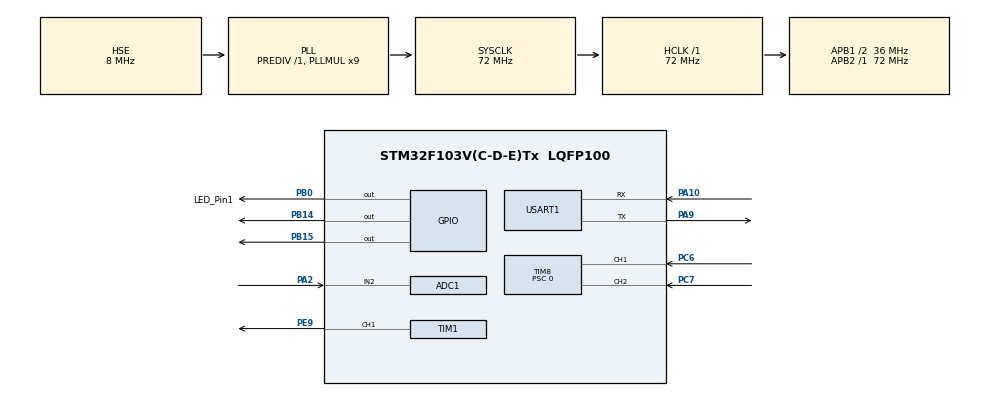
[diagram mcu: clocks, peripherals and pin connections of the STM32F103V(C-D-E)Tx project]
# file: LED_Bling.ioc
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ADC1.Channel-2\#ChannelRegularConversion=ADC_CHANNEL_2
ADC1.ContinuousConvMode=ENABLE
ADC1.NbrOfConversion=1
ADC1.NbrOfConversionFlag=1
ADC1.Rank-2\#ChannelRegularConversion=1
ADC1.SamplingTime-2\#ChannelRegularConversion=ADC_SAMPLETIME_1CYCLE_5
ADC1.master=1
Mcu.Family=STM32F1
Mcu.Name=STM32F103V(C-D-E)Tx
Mcu.Package=LQFP100
NVIC.PriorityGroup=NVIC_PRIORITYGROUP_4
NVIC.TIM2_IRQn=true\:0\:0\:false\:false\:true\:true\:true
NVIC.USART1_IRQn=true\:0\:0\:false\:false\:true\:true\:true
OSC_IN.Mode=HSE-External-Oscillator
OSC_IN.Signal=RCC_OSC_IN
OSC_OUT.Mode=HSE-External-Oscillator
OSC_OUT.Signal=RCC_OSC_OUT
PA10.Mode=Asynchronous
PA10.Signal=USART1_RX
PA2.Signal=ADCx_IN2
PA9.Mode=Asynchronous
PA9.Signal=USART1_TX
PB0.GPIO_Label=LED_Pin1
PB0.GPIO_Speed=GPIO_SPEED_FREQ_HIGH
PB0.Signal=GPIO_Output
PB14.GPIO_Speed=GPIO_SPEED_FREQ_HIGH
PB14.Signal=GPIO_Output
PB15.GPIO_Speed=GPIO_SPEED_FREQ_HIGH
PB15.Signal=GPIO_Output
PC6.GPIO_PuPd=GPIO_PULLUP
PC6.Signal=S_TIM8_CH1
PC7.GPIO_PuPd=GPIO_PULLUP
PC7.Signal=S_TIM8_CH2
PE9.Signal=S_TIM1_CH1
ProjectManager.HeapSize=0x200
ProjectManager.StackSize=0x400
ProjectManager.TargetToolchain=EWARM V8.32
RCC.ADCPresc=RCC_ADCPCLK2_DIV8
RCC.AHBFreq_Value=72000000
RCC.APB1CLKDivider=RCC_HCLK_DIV2
RCC.APB1Freq_Value=36000000
RCC.APB1TimFreq_Value=72000000
RCC.APB2Freq_Value=72000000
RCC.APB2TimFreq_Value=72000000
RCC.HCLKFreq_Value=72000000
RCC.PLLMUL=RCC_PLL_MUL9
RCC.PLLSourceVirtual=RCC_PLLSOURCE_HSE
RCC.SYSCLKFreq_VALUE=72000000
RCC.SYSCLKSource=RCC_SYSCLKSOURCE_PLLCLK
RCC.USBFreq_Value=72000000
SH.ADCx_IN2.0=ADC1_IN2,IN2
SH.S_TIM1_CH1.0=TIM1_CH1,PWM Generation1 CH1
SH.S_TIM8_CH1.0=TIM8_CH1,Encoder_Interface
SH.S_TIM8_CH2.0=TIM8_CH2,Encoder_Interface
TIM1.AutoReloadPreload=TIM_AUTORELOAD_PRELOAD_ENABLE
TIM1.Channel-PWM\ Generation1\ CH1=TIM_CHANNEL_1
TIM1.OCMode_PWM-PWM\ Generation1\ CH1=TIM_OCMODE_PWM1
TIM1.Period=1000-1
TIM1.Prescaler=72-1
TIM1.Pulse-PWM\ Generation1\ CH1=500-1
TIM2.AutoReloadPreload=TIM_AUTORELOAD_PRELOAD_ENABLE
TIM2.Period=1000-1
TIM2.Prescaler=72-1
TIM8.AutoReloadPreload=TIM_AUTORELOAD_PRELOAD_DISABLE
TIM8.EncoderMode=TIM_ENCODERMODE_TI12
TIM8.Period=60000
TIM8.Prescaler=0
USART1.VirtualMode=VM_ASYNC
VP_SYS_VS_ND.Mode=No_Debug
VP_TIM1_VS_ClockSourceINT.Mode=Internal
VP_TIM2_VS_ClockSourceINT.Mode=Internal
board=custom

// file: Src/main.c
/* USER CODE BEGIN Header */
/**
  ******************************************************************************
  * @file           : main.c
  * @brief          : Main program body
  ******************************************************************************
  * @attention
  *
  * <h2><center>&copy; Copyright (c) 2019 STMicroelectronics.
  * All rights reserved.</center></h2>
  *
  * This software component is licensed by ST under BSD 3-Clause license,
  * the "License"; You may not use this file except in compliance with the
  * License. You may obtain a copy of the License at:
  *                        opensource.org/licenses/BSD-3-Clause
  *
  ******************************************************************************
  */
/* USER CODE END Header */

#include "main.h"
#include "adc.h"
#include "tim.h"
#include "usart.h"
#include "gpio.h"

/* USER CODE BEGIN Includes */

#include "pid.h"

/* USER CODE END Includes */

/* USER CODE BEGIN PV */
int a = 0;
uint8_t aTxStartMessages[] = "\r\n******UART commucition using IT******\r\nPlease enter 10 characters:\r\n";
uint8_t aRxBuffer[1];
extern pid pid_speed;
extern pid pid_angle;

/* USER CODE END PV */

void SystemClock_Config(void);

/* USER CODE BEGIN 0 */
int fputc(int c, FILE *stream)    //??fputc??
{

    HAL_UART_Transmit(&huart1, (unsigned char *)&c, 1, 1000);
    return 1;
}

uint32_t adc_raw = 0;
uint16_t timer2_counter = 0;
void HAL_TIM_PeriodElapsedCallback(TIM_HandleTypeDef *htim){
		timer2_counter ++;
		if (timer2_counter == 50){

			timer2_counter = 0;

			pid_angle.true_value = adc_raw;
			printf("%d %d\n", pid_angle.true_value, pid_angle.tar_value);
			pid_angle_cal();

			pid_set_tarspeed(pid_angle.output);
		}
		if (timer2_counter % 10 == 0){
			pid_speed.true_value = 30000 - __HAL_TIM_GET_COUNTER(&htim8);
			__HAL_TIM_SET_COUNTER(&htim8, 30000);
			pid_speed_cal();

			if(pid_angle.true_value < TAR_ANGLE - 250 || pid_angle.true_value > TAR_ANGLE + 250)
				pid_speed.output = 0;
			//printf("Speed:%d\n", pid_speed.true_value);
			if (pid_speed.output < 0){
				HAL_GPIO_WritePin(GPIOB, GPIO_PIN_14, GPIO_PIN_SET);
				HAL_GPIO_WritePin(GPIOB, GPIO_PIN_15, GPIO_PIN_RESET);
				__HAL_TIM_SET_COMPARE(&htim1, TIM_CHANNEL_1, -pid_speed.output);

			}

			else if (pid_speed.output > 0){
				HAL_GPIO_WritePin(GPIOB, GPIO_PIN_15, GPIO_PIN_SET);
				HAL_GPIO_WritePin(GPIOB, GPIO_PIN_14, GPIO_PIN_RESET);
				__HAL_TIM_SET_COMPARE(&htim1, TIM_CHANNEL_1, pid_speed.output);
			}
			else if (pid_speed.output == 0){
				HAL_GPIO_WritePin(GPIOB, GPIO_PIN_15, GPIO_PIN_SET);
				HAL_GPIO_WritePin(GPIOB, GPIO_PIN_14, GPIO_PIN_RESET);
				__HAL_TIM_SET_COMPARE(&htim1, TIM_CHANNEL_1, 0);
			}
		}

}
uint8_t msg[1];

void HAL_UART_RxCpltCallback(UART_HandleTypeDef *huart){
		printf("%d\n", msg[0]);
		if(msg[0] == '1'){
			pid_angle.k_pro += 1;
			printf("Kp->:%.1f\n", pid_angle.k_pro);
		}
		else if (msg[0] == '2'){
			pid_angle.k_pro -= 1;
			printf("Kp->:%.1f\n", pid_angle.k_pro);
		}
		else if(msg[0] == '3'){
			pid_angle.k_int += 0.1;
			printf("Kd->:%.1f\n", pid_angle.k_int);
		}
		else if (msg[0] == '4'){
			pid_angle.k_int -= 0.1;
			printf("Kd->:%.1f\n", pid_angle.k_int);
		}

		else if(msg[0] == '5'){
			pid_angle.k_dif += 0.1;
			printf("Kp->:%.1f\n", pid_angle.k_dif);
		}
		else if (msg[0] == '6'){
			pid_angle.k_dif -= 0.1;
			printf("Kp->:%.1f\n", pid_angle.k_dif);
		}

		else if(msg[0] == '7'){
			pid_angle.k_pro += 0.05;
			printf("Kd->:%.2f\n", pid_angle.k_pro);
		}
		else if(msg[0] == '8'){
			pid_angle.k_pro -= 0.05;
			printf("Kd->:%.2f\n", pid_angle.k_pro);
		}
		else if(msg[0] == '9'){
			pid_angle.k_dif += 0.005;
			printf("Kd->:%.3f\n", pid_angle.k_dif);
		}
		else if(msg[0] == '0'){
			pid_angle.k_dif -= 0.005;
			printf("Kd->:%.3f\n", pid_angle.k_dif);
		}

		HAL_UART_Receive_IT(&huart1, (uint8_t *)&msg, 1);
}

/* USER CODE END 0 */

int main(void)
{
  /* USER CODE BEGIN 1 */

	uint8_t adc = 0;

  /* USER CODE END 1 */

  /* MCU Configuration--------------------------------------------------------*/

  /* Reset of all peripherals, Initializes the Flash interface and the Systick. */
  HAL_Init();

  /* Configure the system clock */
  SystemClock_Config();

  /* Initialize all configured peripherals */
  MX_GPIO_Init();
  MX_TIM1_Init();
  MX_USART1_UART_Init();
  MX_ADC1_Init();
  MX_TIM2_Init();
  MX_TIM8_Init();
  /* USER CODE BEGIN 2 */
	__HAL_TIM_SET_COUNTER(&htim8, 30000);
	HAL_TIM_Encoder_Start(&htim8,TIM_CHANNEL_ALL);
	pid_speed_init();
	pid_angle_init();
	HAL_TIM_PWM_Start(&htim1, TIM_CHANNEL_1);

	HAL_UART_Receive_IT(&huart1, (uint8_t *)&msg, 1);
	HAL_TIM_Base_Start_IT(&htim1);
  /* USER CODE END 2 */

  /* Infinite loop */
  /* USER CODE BEGIN WHILE */

	HAL_UART_Receive_IT(&huart1,(uint8_t*)aRxBuffer,1);
	HAL_UART_Transmit(&huart1,aTxStartMessages,sizeof(aTxStartMessages),100);
	HAL_TIM_Base_Start_IT(&htim2);

  while (1)
  {
    /* USER CODE END WHILE */

    /* USER CODE BEGIN 3 */
//		HAL_UART_Transmit(&huart1, (uint8_t *)&msg, 3, 1000);
//		HAL_Delay(500);
//		HAL_GPIO_WritePin(LED_Pin1_GPIO_Port, LED_Pin1_Pin, GPIO_PIN_SET);
//		HAL_Delay(500);
			HAL_ADC_Start(&hadc1);
      HAL_ADC_PollForConversion(&hadc1, 500);
			adc_raw = HAL_ADC_GetValue(&hadc1);
			//adc = adc_raw / 0xFFFFFF;
			//HAL_UART_Transmit(&huart1, &adc, 1, 100);
//		printf("Data: %d\n", adc_raw);
//		printf("End of while");

  }
  /* USER CODE END 3 */
}

void SystemClock_Config(void)
{
  RCC_OscInitTypeDef RCC_OscInitStruct = {0};
  RCC_ClkInitTypeDef RCC_ClkInitStruct = {0};
  RCC_PeriphCLKInitTypeDef PeriphClkInit = {0};

  /** Initializes the CPU, AHB and APB busses clocks
  */
  RCC_OscInitStruct.OscillatorType = RCC_OSCILLATORTYPE_HSE;
  RCC_OscInitStruct.HSEState = RCC_HSE_ON;
  RCC_OscInitStruct.HSEPredivValue = RCC_HSE_PREDIV_DIV1;
  RCC_OscInitStruct.HSIState = RCC_HSI_ON;
  RCC_OscInitStruct.PLL.PLLState = RCC_PLL_ON;
  RCC_OscInitStruct.PLL.PLLSource = RCC_PLLSOURCE_HSE;
  RCC_OscInitStruct.PLL.PLLMUL = RCC_PLL_MUL9;
  if (HAL_RCC_OscConfig(&RCC_OscInitStruct) != HAL_OK)
  {
    Error_Handler();
  }
  /** Initializes the CPU, AHB and APB busses clocks
  */
  RCC_ClkInitStruct.ClockType = RCC_CLOCKTYPE_HCLK|RCC_CLOCKTYPE_SYSCLK
                              |RCC_CLOCKTYPE_PCLK1|RCC_CLOCKTYPE_PCLK2;
  RCC_ClkInitStruct.SYSCLKSource = RCC_SYSCLKSOURCE_PLLCLK;
  RCC_ClkInitStruct.AHBCLKDivider = RCC_SYSCLK_DIV1;
  RCC_ClkInitStruct.APB1CLKDivider = RCC_HCLK_DIV2;
  RCC_ClkInitStruct.APB2CLKDivider = RCC_HCLK_DIV1;

  if (HAL_RCC_ClockConfig(&RCC_ClkInitStruct, FLASH_LATENCY_2) != HAL_OK)
  {
    Error_Handler();
  }
  PeriphClkInit.PeriphClockSelection = RCC_PERIPHCLK_ADC;
  PeriphClkInit.AdcClockSelection = RCC_ADCPCLK2_DIV8;
  if (HAL_RCCEx_PeriphCLKConfig(&PeriphClkInit) != HAL_OK)
  {
    Error_Handler();
  }
}

void Error_Handler(void)
{
}

/************************ (C) COPYRIGHT STMicroelectronics *****END OF FILE****/
